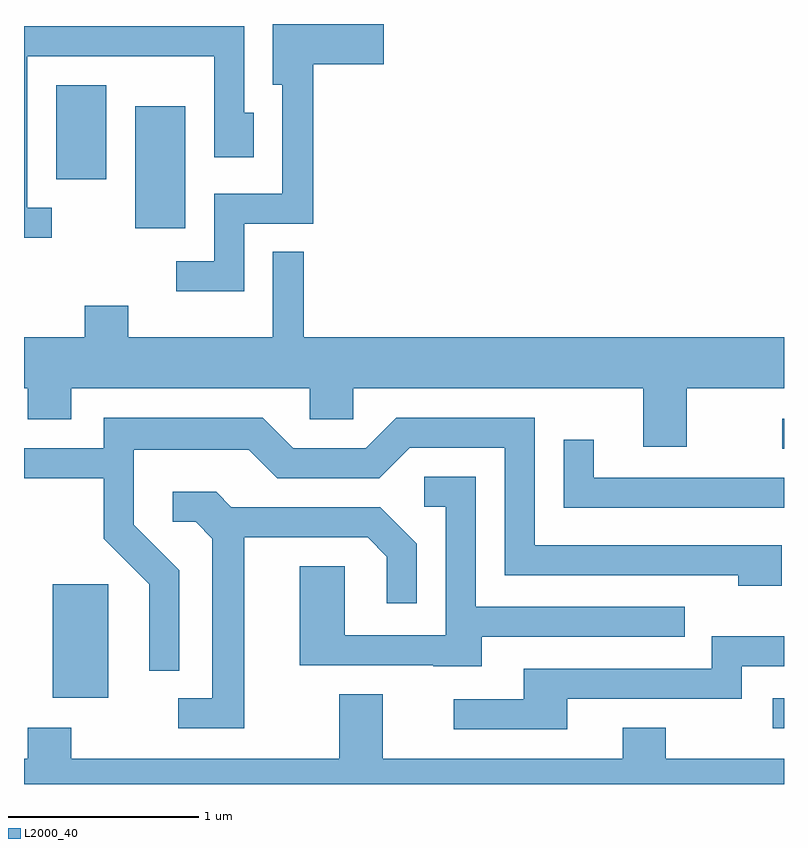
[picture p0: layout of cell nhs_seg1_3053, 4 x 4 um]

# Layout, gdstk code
import gdstk
lib = gdstk.Library(unit=1e-6, precision=1e-09)
def R(c, l, rs):  # rectangles x0, y0, x1, y1
    for r in rs: c.add(gdstk.rectangle(r[:2], r[2:], *l))
def P(c, l, *ps):  # polygons
    for p in ps: c.add(gdstk.Polygon(p, *l))
L2000_40 = (2000, 40)

nhs_seg1_3053 = lib.new_cell('nhs_seg1_3053')
R(nhs_seg1_3053, L2000_40, [(281.553,900.006,281.611,900.164), (277.761,900.166,278.054,900.764), (281.603,901.476,281.611,901.634), (278.196,902.636,278.459,903.279), (277.781,902.896,278.044,903.389)])
P(nhs_seg1_3053, L2000_40, [(278.769,902.661),(279.134,902.661),(279.134,903.501),(279.504,903.501),(279.504,903.712),(278.921,903.712),(278.921,903.391),(278.971,903.391),(278.971,902.819),(278.611,902.819),(278.611,902.464),(278.413,902.464),(278.413,902.306),(278.769,902.306)],
  [(277.758,902.744),(277.629,902.744),(277.629,903.541),(278.611,903.541),(278.611,903.011),(278.819,903.011),(278.819,903.244),(278.769,903.244),(278.769,903.699),(277.611,903.699),(277.611,902.586),(277.758,902.586)],
  [(281.099,901.796),(281.611,901.796),(281.611,902.064),(279.084,902.064),(279.084,902.513),(278.921,902.513),(278.921,902.064),(278.159,902.064),(278.159,902.229),(277.931,902.229),(277.931,902.064),(277.611,902.064),(277.611,901.796),(277.631,901.796),(277.631,901.631),(277.859,901.631),(277.859,901.796),(279.116,901.796),(279.116,901.631),(279.344,901.631),(279.344,901.796),(280.871,901.796),(280.871,901.486),(281.099,901.486)],
  [(278.429,900.837),(278.189,901.077),(278.189,901.471),(278.794,901.471),(278.944,901.321),(279.482,901.321),(279.642,901.481),(280.141,901.481),(280.141,900.811),(281.371,900.811),(281.371,900.756),(281.599,900.756),(281.599,900.969),(280.299,900.969),(280.299,901.639),(279.569,901.639),(279.409,901.479),(279.027,901.479),(278.867,901.639),(278.031,901.639),(278.031,901.479),(277.611,901.479),(277.611,901.321),(278.031,901.321),(278.031,901.004),(278.271,900.764),(278.271,900.308),(278.429,900.308)],
  [(281.611,901.324),(280.609,901.324),(280.609,901.523),(280.451,901.523),(280.451,901.166),(281.611,901.166)],
  [(280.019,900.486),(281.088,900.486),(281.088,900.644),(279.989,900.644),(279.989,901.329),(279.718,901.329),(279.718,901.171),(279.831,901.171),(279.831,900.494),(279.299,900.494),(279.299,900.859),(279.061,900.859),(279.061,900.336),(279.765,900.336),(279.765,900.331),(280.019,900.331)],
  [(278.769,901.011),(279.419,901.011),(279.521,900.909),(279.521,900.663),(279.679,900.663),(279.679,900.977),(279.487,901.169),(278.702,901.169),(278.622,901.249),(278.393,901.249),(278.393,901.091),(278.514,901.091),(278.601,901.004),(278.601,900.164),(278.423,900.164),(278.423,900.006),(278.769,900.006)],
  [(280.469,900.161),(281.389,900.161),(281.389,900.331),(281.611,900.331),(281.611,900.489),(281.231,900.489),(281.231,900.319),(280.241,900.319),(280.241,900.159),(279.873,900.159),(279.873,900.001),(280.469,900.001)],
  [(281.611,899.844),(280.989,899.844),(280.989,900.009),(280.761,900.009),(280.761,899.844),(279.499,899.844),(279.499,900.184),(279.271,900.184),(279.271,899.844),(277.859,899.844),(277.859,900.009),(277.631,900.009),(277.631,899.844),(277.611,899.844),(277.611,899.712),(281.611,899.712)])

lib.write_gds('nhs_seg1_3053.gds')
